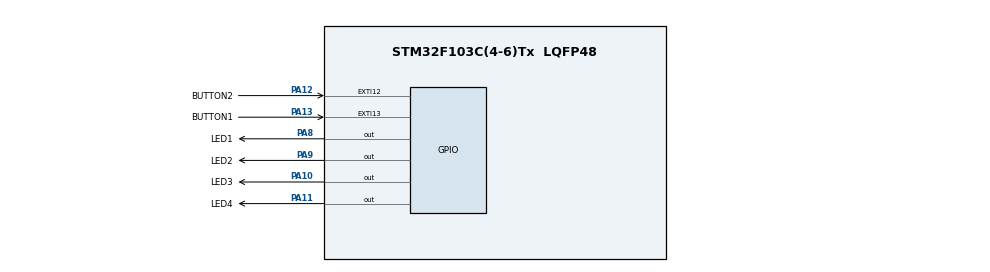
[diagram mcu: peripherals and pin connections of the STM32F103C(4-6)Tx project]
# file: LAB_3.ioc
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Mcu.Family=STM32F1
Mcu.Name=STM32F103C(4-6)Tx
Mcu.Package=LQFP48
NVIC.EXTI15_10_IRQn=true\:0\:0\:false\:true\:true\:1\:true\:true
NVIC.PriorityGroup=NVIC_PRIORITYGROUP_4
PA10.GPIO_Label=LED3
PA10.Signal=GPIO_Output
PA11.GPIO_Label=LED4
PA11.Signal=GPIO_Output
PA12.GPIO_Label=BUTTON2
PA12.Signal=GPXTI12
PA13.GPIO_Label=BUTTON1
PA13.Signal=GPXTI13
PA8.GPIO_Label=LED1
PA8.Signal=GPIO_Output
PA9.GPIO_Label=LED2
PA9.Signal=GPIO_Output
ProjectManager.HeapSize=0x200
ProjectManager.StackSize=0x400
ProjectManager.TargetToolchain=STM32CubeIDE
RCC.APB1Freq_Value=8000000
RCC.APB2Freq_Value=8000000
VP_SYS_VS_ND.Mode=No_Debug
board=custom

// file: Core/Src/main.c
/* USER CODE BEGIN Header */
/**
  ******************************************************************************
  * @file           : main.c
  * @brief          : Main program body
  ******************************************************************************
  * @attention
  *
  * <h2><center>&copy; Copyright (c) 2021 STMicroelectronics.
  * All rights reserved.</center></h2>
  *
  * This software component is licensed by ST under BSD 3-Clause license,
  * the "License"; You may not use this file except in compliance with the
  * License. You may obtain a copy of the License at:
  *                        opensource.org/licenses/BSD-3-Clause
  *
  ******************************************************************************
  */
/* USER CODE END Header */
#include "main.h"

void SystemClock_Config(void);
static void MX_GPIO_Init(void);
static void MX_NVIC_Init(void);

/* USER CODE BEGIN 0 */
uint8_t counter = 0;
/* USER CODE END 0 */

int main(void)
{

  /* MCU Configuration--------------------------------------------------------*/

  /* Reset of all peripherals, Initializes the Flash interface and the Systick. */
  HAL_Init();

  /* Configure the system clock */
  SystemClock_Config();

  /* Initialize all configured peripherals */
  MX_GPIO_Init();

  /* Initialize interrupts */
  MX_NVIC_Init();
  /* USER CODE BEGIN 2 */
  HAL_GPIO_WritePin(LED1_GPIO_Port, LED1_Pin, 1);
  HAL_GPIO_WritePin(LED2_GPIO_Port, LED2_Pin, 1);
  HAL_GPIO_WritePin(LED3_GPIO_Port, LED3_Pin, 1);
  HAL_GPIO_WritePin(LED4_GPIO_Port, LED4_Pin, 1);
  /* USER CODE END 2 */

  /* Infinite loop */
  while (1)
  {

  }
}

void SystemClock_Config(void)
{
  RCC_OscInitTypeDef RCC_OscInitStruct = {0};
  RCC_ClkInitTypeDef RCC_ClkInitStruct = {0};

  /** Initializes the RCC Oscillators according to the specified parameters
  * in the RCC_OscInitTypeDef structure.
  */
  RCC_OscInitStruct.OscillatorType = RCC_OSCILLATORTYPE_HSI;
  RCC_OscInitStruct.HSIState = RCC_HSI_ON;
  RCC_OscInitStruct.HSICalibrationValue = RCC_HSICALIBRATION_DEFAULT;
  RCC_OscInitStruct.PLL.PLLState = RCC_PLL_NONE;
  if (HAL_RCC_OscConfig(&RCC_OscInitStruct) != HAL_OK)
  {
    Error_Handler();
  }
  /** Initializes the CPU, AHB and APB buses clocks
  */
  RCC_ClkInitStruct.ClockType = RCC_CLOCKTYPE_HCLK|RCC_CLOCKTYPE_SYSCLK
                              |RCC_CLOCKTYPE_PCLK1|RCC_CLOCKTYPE_PCLK2;
  RCC_ClkInitStruct.SYSCLKSource = RCC_SYSCLKSOURCE_HSI;
  RCC_ClkInitStruct.AHBCLKDivider = RCC_SYSCLK_DIV1;
  RCC_ClkInitStruct.APB1CLKDivider = RCC_HCLK_DIV1;
  RCC_ClkInitStruct.APB2CLKDivider = RCC_HCLK_DIV1;

  if (HAL_RCC_ClockConfig(&RCC_ClkInitStruct, FLASH_LATENCY_0) != HAL_OK)
  {
    Error_Handler();
  }
}

/**
  * @brief NVIC Configuration.
  * @retval None
  */
static void MX_NVIC_Init(void)
{
  /* EXTI15_10_IRQn interrupt configuration */
  HAL_NVIC_SetPriority(EXTI15_10_IRQn, 0, 0);
  HAL_NVIC_EnableIRQ(EXTI15_10_IRQn);
}

static void MX_GPIO_Init(void)
{
  GPIO_InitTypeDef GPIO_InitStruct = {0};

  /* GPIO Ports Clock Enable */
  __HAL_RCC_GPIOA_CLK_ENABLE();

  /*Configure GPIO pin Output Level */
  HAL_GPIO_WritePin(GPIOA, LED1_Pin|LED2_Pin|LED3_Pin|LED4_Pin, GPIO_PIN_RESET);

  /*Configure GPIO pins : LED1_Pin LED2_Pin LED3_Pin LED4_Pin */
  GPIO_InitStruct.Pin = LED1_Pin|LED2_Pin|LED3_Pin|LED4_Pin;
  GPIO_InitStruct.Mode = GPIO_MODE_OUTPUT_PP;
  GPIO_InitStruct.Pull = GPIO_NOPULL;
  GPIO_InitStruct.Speed = GPIO_SPEED_FREQ_LOW;
  HAL_GPIO_Init(GPIOA, &GPIO_InitStruct);

  /*Configure GPIO pins : BUTTON2_Pin BUTTON1_Pin */
  GPIO_InitStruct.Pin = BUTTON2_Pin|BUTTON1_Pin;
  GPIO_InitStruct.Mode = GPIO_MODE_IT_RISING;
  GPIO_InitStruct.Pull = GPIO_NOPULL;
  HAL_GPIO_Init(GPIOA, &GPIO_InitStruct);

}

/* USER CODE BEGIN 4 */
void HAL_GPIO_EXTI_Callback(uint16_t GPIO_Pin)
{
	if(GPIO_Pin == BUTTON1_Pin && BUTTON1_GPIO_Port->IDR & BUTTON1_Pin)
	{
		if(counter > 0) counter--;
	}
	if(GPIO_Pin == BUTTON2_Pin && BUTTON2_GPIO_Port->IDR & BUTTON2_Pin)
	{
		if(counter < 4) counter++;
	}
	if(BUTTON2_GPIO_Port->IDR & BUTTON2_Pin || BUTTON1_GPIO_Port->IDR & BUTTON1_Pin)
	{
		if(counter == 0)
		{
			HAL_GPIO_WritePin(LED1_GPIO_Port, LED1_Pin, 1);
			HAL_GPIO_WritePin(LED2_GPIO_Port, LED2_Pin, 1);
			HAL_GPIO_WritePin(LED3_GPIO_Port, LED3_Pin, 1);
			HAL_GPIO_WritePin(LED4_GPIO_Port, LED4_Pin, 1);
		}
		if(counter == 1)
		{
			HAL_GPIO_WritePin(LED1_GPIO_Port, LED1_Pin, 0);
			HAL_GPIO_WritePin(LED2_GPIO_Port, LED2_Pin, 1);
			HAL_GPIO_WritePin(LED3_GPIO_Port, LED3_Pin, 1);
			HAL_GPIO_WritePin(LED4_GPIO_Port, LED4_Pin, 1);
		}
		if(counter == 2)
		{
			HAL_GPIO_WritePin(LED1_GPIO_Port, LED1_Pin, 0);
			HAL_GPIO_WritePin(LED2_GPIO_Port, LED2_Pin, 0);
			HAL_GPIO_WritePin(LED3_GPIO_Port, LED3_Pin, 1);
			HAL_GPIO_WritePin(LED4_GPIO_Port, LED4_Pin, 1);
		}
		if(counter == 3)
		{
			HAL_GPIO_WritePin(LED1_GPIO_Port, LED1_Pin, 0);
			HAL_GPIO_WritePin(LED2_GPIO_Port, LED2_Pin, 0);
			HAL_GPIO_WritePin(LED3_GPIO_Port, LED3_Pin, 0);
			HAL_GPIO_WritePin(LED4_GPIO_Port, LED4_Pin, 1);
		}
		if(counter == 4)
		{
			HAL_GPIO_WritePin(LED1_GPIO_Port, LED1_Pin, 0);
			HAL_GPIO_WritePin(LED2_GPIO_Port, LED2_Pin, 0);
			HAL_GPIO_WritePin(LED3_GPIO_Port, LED3_Pin, 0);
			HAL_GPIO_WritePin(LED4_GPIO_Port, LED4_Pin, 0);
		}
	}
}
/* USER CODE END 4 */

void Error_Handler(void)
{
  __disable_irq();
  while (1)
  {
  }
}

/************************ (C) COPYRIGHT STMicroelectronics *****END OF FILE****/
